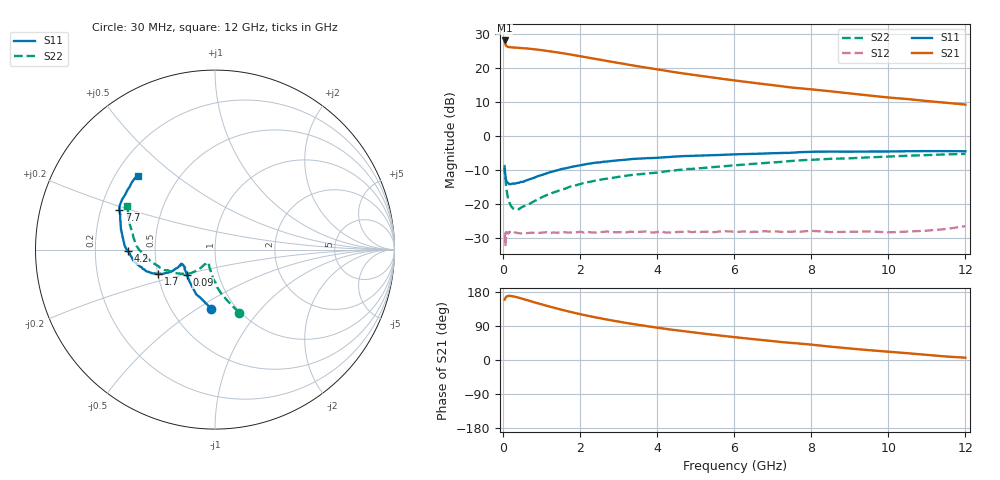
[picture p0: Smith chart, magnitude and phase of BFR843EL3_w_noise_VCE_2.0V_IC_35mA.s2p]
! Infineon Technologies  Discrete & RF Semiconductors
! BFR843EL3
! VCE =  2.0 V,  IC =  35 mA
! Common Emitter S-Parameters:  Aug 2013
# GHz  S  MA  R  50
!  f  S11  S21  S12  S22
! GHz  MAG  ANG  MAG  ANG  MAG  ANG  MAG  ANG
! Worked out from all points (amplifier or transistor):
!   103 points, 30 MHz to 12 GHz, reference 50 ohm
!   highest |S21| = 28.1 dB at 30 MHz (marker M1)
!   |S21| within 3 dB of that: start of sweep to 1.087 GHz
!   unconditionally stable (mu >= 1): 49.31 MHz to 51.03 MHz; 201.6 MHz to 917.3 MHz; 2.779 GHz to end of sweep
!   at 400 MHz: K = 1.01, MAG = 26.5 dB, |S12| = -28.6 dB
!   at 3.7 GHz: K = 1.05, MAG = 22.7 dB, |S12| = -28.1 dB
!   at 12 GHz: K = 1.87, MAG = 12.5 dB, |S12| = -26.5 dB
!   lowest NFmin = 1.43 dB at 450 MHz
!   S11 on the Smith chart (normalised r, x): 30 MHz: 0.77, -0.57; 90 MHz: 0.70, -0.21; 1.7 GHz: 0.50, -0.16; 4.2 GHz: 0.35, -0.01; 7.7 GHz: 0.28, +0.18; 12 GHz: 0.29, +0.37
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0.03  0.3293 -93.9  25.26 159.3  0.0357 25.7  0.3755 -69.2
0.04  0.2801 -106.8  23.38 161.4  0.0359 23.6  0.2933 -76.3
0.06  0.2324 -126.1  21.51 165.1  0.0381 22.4  0.2101 -86.8
0.09  0.2117 -138.0  20.68 167.8  0.0384 11.1  0.1487 -95.5
0.15  0.1949 -148.7  20.18 169.4  0.0389 6.1  0.1062 -106.3
0.25  0.2001 -154.7  19.93 168.0  0.0367 5.0  0.086 -116.2
0.7  0.233 -153.9  19.04 155.4  0.0378 3.3  0.102 -125.5
1  0.2666 -153.4  18.16 146.6  0.0379 3.1  0.1257 -127.4
1.2  0.2917 -153.9  17.52 140.9  0.0378 2.2  0.1397 -129.1
1.7  0.3433 -156.6  15.84 127.9  0.0379 4.8  0.177 -134.3
2.1  0.38 -160.1  14.46 118.6  0.0379 5.3  0.2049 -138.9
2.6  0.4176 -165.3  12.89 108.4  0.0389 3.3  0.2315 -144.4
3.1  0.4434 -169.8  11.53 99.4  0.039 6.5  0.2548 -148.9
3.5  0.4635 -173.7  10.53 92.8  0.0389 6.8  0.2724 -152.9
4.1  0.4821 -178.4  9.304 83.8  0.0396 8.2  0.2934 -156.9
4.2  0.4864 -179.0  9.112 82.4  0.0381 9.3  0.3007 -157.6
5.1  0.514 173.8  7.658 70.8  0.0387 10.9  0.335 -165.0
6.1  0.5378 167.2  6.43 59.3  0.0389 13.4  0.3736 -171.6
7.7  0.5776 157.5  5.007 43.3  0.039 17.2  0.4375 177.4
8.5  0.5881 151.5  4.52 35.2  0.0387 16.7  0.461 171.2
10.5  0.5957 141.2  3.48 17.9  0.0393 28.6  0.5116 160.0
12  0.5952 136.1  2.889 6.1  0.0472 38.0  0.5449 153.7
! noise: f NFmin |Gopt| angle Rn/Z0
0.45  1.43  0.2  177  0.13
0.9  1.45  0.21  174  0.12
1.5  1.45  0.23  173  0.11
1.9  1.44  0.23  174  0.11
2.4  1.46  0.25  178  0.11
3.5  1.46  0.26  182  0.11
5.5  1.47  0.33  195  0.09
8  1.49  0.43  210  0.09
10  1.5  0.51  227  0.11
